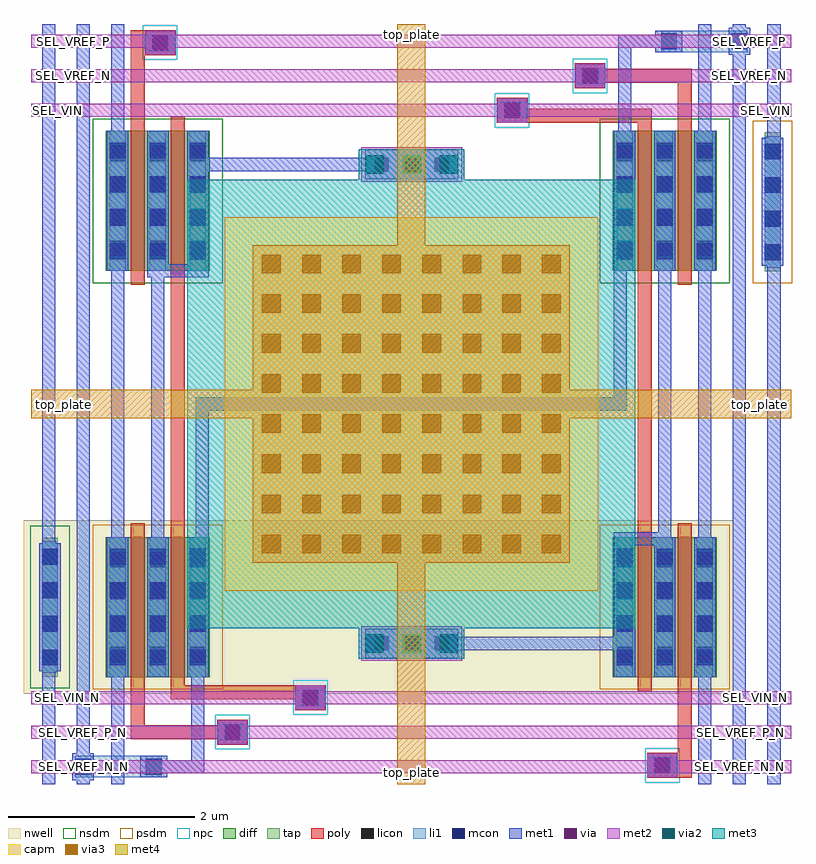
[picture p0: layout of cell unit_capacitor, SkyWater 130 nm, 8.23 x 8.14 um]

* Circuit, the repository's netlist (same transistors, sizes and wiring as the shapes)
***********************************************************
* CDL produced by pvsBuildNetlist on Jul 15 21:54:35 2026 *
***********************************************************


*pvsViewList = auCdl schematic
*pvsStopList = ("auCdl")
*pvsSimName  = auCdl



*.EXPAND_ON_M_FACTOR
*.MEGA



.subckt unit_capacitor SEL_VIN SEL_VIN_N SEL_VREF_N SEL_VREF_N_N SEL_VREF_P
+  SEL_VREF_P_N VDD VIN VREF_N VREF_P VSS top_plate
*PVSCELL netlisted from NS_SAR_Analog unit_capacitor schematic
  CC0 top_plate bottom_plate cap_mim_m3__base l=4u w=4u m=1
  MNM0 VIN SEL_VIN bottom_plate VSS nfet_01v8 M=1 L=150n W=1.5u
  MNM1 bottom_plate SEL_VIN_N bottom_plate VSS nfet_01v8 M=1 L=150n W=1.5u
  MNM2 bottom_plate SEL_VREF_P VREF_P VSS nfet_01v8 M=1 L=150n W=1.5u
  MNM3 bottom_plate SEL_VREF_N VREF_N VSS nfet_01v8 M=1 L=150n W=1.5u
  MPM0 bottom_plate SEL_VIN_N VIN VDD pfet_01v8 M=1 L=150n W=1.5u
  MPM1 bottom_plate SEL_VIN bottom_plate VDD pfet_01v8 M=1 L=150n W=1.5u
  MPM2 VREF_P SEL_VREF_P_N bottom_plate VDD pfet_01v8 M=1 L=150n W=1.5u
  MPM3 VREF_N SEL_VREF_N_N bottom_plate VDD pfet_01v8 M=1 L=150n W=1.5u
.ends unit_capacitor


***********************************************************
*             Completed at Jul 15 21:54:35 2026           *
***********************************************************

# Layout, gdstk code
from math import pi, radians
import gdstk
lib = gdstk.Library(unit=1e-6, precision=1e-09)
def R(c, l, rs):  # rectangles x0, y0, x1, y1
    for r in rs: c.add(gdstk.rectangle(r[:2], r[2:], *l))
def A(c, l, x, y, w, h, nx, ny, dx, dy):  # array of equal rectangles
    R(c, l, [(x+i*dx, y+j*dy, x+i*dx+w, y+j*dy+h) for i in range(nx) for j in range(ny)])
nwell = (64, 20)
diff = (65, 20)
tap = (65, 44)
poly = (66, 20)
licon = (66, 44)
li1 = (67, 20)
mcon = (67, 44)
met1 = (68, 20)
via = (68, 44)
met2 = (69, 20)
via2 = (69, 44)
met3 = (70, 20)
via3 = (70, 44)
met4 = (71, 20)
capm = (89, 44)
nsdm = (93, 44)
psdm = (94, 20)
npc = (95, 20)

cap_mim_m3__base_cdns_78 = lib.new_cell('cap_mim_m3__base_CDNS_784047173763')
R(cap_mim_m3__base_cdns_78, met3, [(-0.4,-0.4,4.4,4.4)])
A(cap_mim_m3__base_cdns_78, via3, 0.4, 0.4, 0.2, 0.2, 6, 6, 0.43, 0.43)
A(cap_mim_m3__base_cdns_78, via3, 2.975, 0.4, 0.2, 0.2, 1, 6, 0, 0.43)
A(cap_mim_m3__base_cdns_78, via3, 3.4, 0.4, 0.2, 0.2, 1, 6, 0, 0.43)
A(cap_mim_m3__base_cdns_78, via3, 0.4, 2.975, 0.2, 0.2, 6, 2, 0.43, 0.425)
R(cap_mim_m3__base_cdns_78, via3, [(2.975,2.975,3.175,3.175), (3.4,2.975,3.6,3.175), (2.975,3.4,3.175,3.6), (3.4,3.4,3.6,3.6)])
R(cap_mim_m3__base_cdns_78, met4, [(0.3,0.3,3.7,3.7)])
R(cap_mim_m3__base_cdns_78, capm, [(0,0,4,4)])

pfet_01v8_cdns_784047173 = lib.new_cell('pfet_01v8_CDNS_784047173764')
R(pfet_01v8_cdns_784047173, nwell, [(-0.445,-0.18,0.385,1.68)])
R(pfet_01v8_cdns_784047173, diff, [(-0.265,0,0,1.5), (0,0,0.15,1.5), (0.15,0,0.205,1.5)])
R(pfet_01v8_cdns_784047173, poly, [(0,-0.15,0.15,-0.095), (0,-0.095,0.15,0), (0,0,0.15,1.5), (0,1.5,0.15,1.595), (0,1.595,0.15,1.65)])
A(pfet_01v8_cdns_784047173, licon, -0.225, 0.155, 0.17, 0.17, 1, 4, 0, 0.34)
R(pfet_01v8_cdns_784047173, li1, [(-0.225,0,-0.055,1.5)])
A(pfet_01v8_cdns_784047173, mcon, -0.225, 0.125, 0.17, 0.17, 1, 4, 0, 0.36)
R(pfet_01v8_cdns_784047173, met1, [(-0.255,0,-0.025,1.5)])
R(pfet_01v8_cdns_784047173, psdm, [(-0.405,-0.13,0.215,1.63)])

nfet_01v8_cdns_784047173 = lib.new_cell('nfet_01v8_CDNS_784047173765')
R(nfet_01v8_cdns_784047173, diff, [(-0.055,0,0,1.5), (0,0,0.15,1.5), (0.15,0,0.415,1.5)])
R(nfet_01v8_cdns_784047173, poly, [(0,-0.15,0.15,-0.095), (0,-0.095,0.15,0), (0,0,0.15,1.5), (0,1.5,0.15,1.595), (0,1.595,0.15,1.65)])
A(nfet_01v8_cdns_784047173, licon, 0.205, 0.155, 0.17, 0.17, 1, 4, 0, 0.34)
R(nfet_01v8_cdns_784047173, li1, [(0.205,0,0.375,1.5)])
A(nfet_01v8_cdns_784047173, mcon, 0.205, 0.125, 0.17, 0.17, 1, 4, 0, 0.36)
R(nfet_01v8_cdns_784047173, met1, [(0.175,0,0.405,1.5)])
R(nfet_01v8_cdns_784047173, nsdm, [(-0.065,-0.13,0.555,1.63)])

c_pfet_01v8_cdns_784047173 = lib.new_cell('pfet_01v8_CDNS_784047173766')
R(c_pfet_01v8_cdns_784047173, nwell, [(-0.405,-0.18,0.595,1.68)])
R(c_pfet_01v8_cdns_784047173, diff, [(-0.225,0,0,1.5), (0,0,0.15,1.5), (0.15,0,0.415,1.5)])
R(c_pfet_01v8_cdns_784047173, poly, [(0,-0.15,0.15,-0.095), (0,-0.095,0.15,0), (0,0,0.15,1.5), (0,1.5,0.15,1.595), (0,1.595,0.15,1.65)])
A(c_pfet_01v8_cdns_784047173, licon, -0.225, 0.155, 0.17, 0.17, 1, 4, 0, 0.34)
A(c_pfet_01v8_cdns_784047173, licon, 0.205, 0.155, 0.17, 0.17, 1, 4, 0, 0.34)
R(c_pfet_01v8_cdns_784047173, li1, [(-0.225,0,-0.055,1.5), (0.205,0,0.375,1.5)])
A(c_pfet_01v8_cdns_784047173, mcon, -0.225, 0.125, 0.17, 0.17, 1, 4, 0, 0.36)
A(c_pfet_01v8_cdns_784047173, mcon, 0.205, 0.125, 0.17, 0.17, 1, 4, 0, 0.36)
R(c_pfet_01v8_cdns_784047173, met1, [(-0.255,0,-0.025,1.5), (0.175,0,0.405,1.5)])
R(c_pfet_01v8_cdns_784047173, psdm, [(-0.235,-0.13,0.555,1.63)])

c_nfet_01v8_cdns_784047173 = lib.new_cell('nfet_01v8_CDNS_784047173767')
R(c_nfet_01v8_cdns_784047173, diff, [(-0.265,0,0,1.5), (0,0,0.15,1.5), (0.15,0,0.375,1.5)])
R(c_nfet_01v8_cdns_784047173, poly, [(0,-0.15,0.15,-0.095), (0,-0.095,0.15,0), (0,0,0.15,1.5), (0,1.5,0.15,1.595), (0,1.595,0.15,1.65)])
A(c_nfet_01v8_cdns_784047173, licon, -0.225, 0.155, 0.17, 0.17, 1, 4, 0, 0.34)
A(c_nfet_01v8_cdns_784047173, licon, 0.205, 0.155, 0.17, 0.17, 1, 4, 0, 0.34)
R(c_nfet_01v8_cdns_784047173, li1, [(-0.225,0,-0.055,1.5), (0.205,0,0.375,1.5)])
A(c_nfet_01v8_cdns_784047173, mcon, -0.225, 0.125, 0.17, 0.17, 1, 4, 0, 0.36)
A(c_nfet_01v8_cdns_784047173, mcon, 0.205, 0.125, 0.17, 0.17, 1, 4, 0, 0.36)
R(c_nfet_01v8_cdns_784047173, met1, [(-0.255,0,-0.025,1.5), (0.175,0,0.405,1.5)])
R(c_nfet_01v8_cdns_784047173, nsdm, [(-0.405,-0.13,0.385,1.63)])

polyconn_cdns_7840471737 = lib.new_cell('polyConn_CDNS_784047173760')
R(polyconn_cdns_7840471737, poly, [(-0.135,-0.165,0.135,0.165)])
R(polyconn_cdns_7840471737, licon, [(-0.085,-0.085,0.085,0.085)])
R(polyconn_cdns_7840471737, li1, [(-0.085,-0.165,0.085,0.165)])
R(polyconn_cdns_7840471737, mcon, [(-0.085,-0.085,0.085,0.085)])
R(polyconn_cdns_7840471737, met1, [(-0.13,-0.16,0.13,0.16)])
R(polyconn_cdns_7840471737, npc, [(-0.185,-0.185,0.185,0.185)])

m1m2_c_cdns_784047173760 = lib.new_cell('M1M2_C_CDNS_784047173760')
R(m1m2_c_cdns_784047173760, met1, [(-0.13,-0.16,0.13,0.16)])
R(m1m2_c_cdns_784047173760, via, [(-0.075,-0.075,0.075,0.075)])
R(m1m2_c_cdns_784047173760, met2, [(-0.13,-0.16,0.13,0.16)])

l1m1_c_cdns_784047173761 = lib.new_cell('L1M1_C_CDNS_784047173761')
R(l1m1_c_cdns_784047173761, li1, [(-0.085,-0.115,0.085,0.115)])
R(l1m1_c_cdns_784047173761, mcon, [(-0.085,-0.085,0.085,0.085)])
R(l1m1_c_cdns_784047173761, met1, [(-0.115,-0.145,0.115,0.145)])

l1m1_c_cdns_784047173762 = lib.new_cell('L1M1_C_CDNS_784047173762')
R(l1m1_c_cdns_784047173762, li1, [(-0.085,-0.115,0.085,0.115)])
R(l1m1_c_cdns_784047173762, mcon, [(-0.085,-0.085,0.085,0.085)])
R(l1m1_c_cdns_784047173762, met1, [(-0.145,-0.115,0.145,0.115)])

nwelltap_cdns_7840471737 = lib.new_cell('nwellTap_CDNS_784047173761')
R(nwelltap_cdns_7840471737, nwell, [(-0.265,-0.925,0.265,0.925)])
R(nwelltap_cdns_7840471737, tap, [(-0.085,-0.745,0.085,0.745)])
A(nwelltap_cdns_7840471737, licon, -0.085, -0.625, 0.17, 0.17, 1, 4, 0, 0.36)
R(nwelltap_cdns_7840471737, li1, [(-0.085,-0.705,0.085,0.705)])
A(nwelltap_cdns_7840471737, mcon, -0.085, -0.625, 0.17, 0.17, 1, 4, 0, 0.36)
R(nwelltap_cdns_7840471737, met1, [(-0.115,-0.685,0.115,0.685)])
R(nwelltap_cdns_7840471737, nsdm, [(-0.21,-0.87,0.21,0.87)])

subtap_cdns_784047173762 = lib.new_cell('subTap_CDNS_784047173762')
R(subtap_cdns_784047173762, tap, [(-0.085,-0.745,0.085,0.745)])
A(subtap_cdns_784047173762, licon, -0.085, -0.625, 0.17, 0.17, 1, 4, 0, 0.36)
R(subtap_cdns_784047173762, li1, [(-0.085,-0.705,0.085,0.705)])
A(subtap_cdns_784047173762, mcon, -0.085, -0.625, 0.17, 0.17, 1, 4, 0, 0.36)
R(subtap_cdns_784047173762, met1, [(-0.115,-0.685,0.115,0.685)])
R(subtap_cdns_784047173762, psdm, [(-0.21,-0.87,0.21,0.87)])

m2m3_c_cdns_784047173763 = lib.new_cell('M2M3_C_CDNS_784047173763')
R(m2m3_c_cdns_784047173763, met2, [(-0.54,-0.185,0.54,0.185)])
A(m2m3_c_cdns_784047173763, via2, -0.5, -0.1, 0.2, 0.2, 3, 1, 0.4, 0)
R(m2m3_c_cdns_784047173763, met3, [(-0.565,-0.165,0.565,0.165)])

m1m2_c_cdns_784047173764 = lib.new_cell('M1M2_C_CDNS_784047173764')
R(m1m2_c_cdns_784047173764, met1, [(-0.5,-0.16,0.5,0.16)])
A(m1m2_c_cdns_784047173764, via, -0.395, -0.075, 0.15, 0.15, 3, 1, 0.32, 0)
R(m1m2_c_cdns_784047173764, met2, [(-0.54,-0.185,0.54,0.185)])

unit_capacitor = lib.new_cell('unit_capacitor')
R(unit_capacitor, nwell, [(-0.08,0.095,6.4,1.955)])
A(unit_capacitor, met1, 0.115, -0.87, 0.14, 0.14, 3, 2, 0.37, 8)
A(unit_capacitor, met1, 7.145, -0.87, 0.14, 0.14, 3, 2, 0.37, 8)
A(unit_capacitor, met2, 0, -0.755, 0.14, 0.14, 1, 3, 0, 0.37)
A(unit_capacitor, met2, 8, -0.755, 0.14, 0.14, 1, 3, 0, 0.37)
A(unit_capacitor, met2, 0, 6.275, 0.14, 0.14, 1, 3, 0, 0.37)
A(unit_capacitor, met2, 8, 6.275, 0.14, 0.14, 1, 3, 0, 0.37)
R(unit_capacitor, met4, [(3.92,-0.87,4.22,-0.615), (0,3.05,0.255,3.35), (7.885,3.05,8.14,3.35), (3.92,7.015,4.22,7.27)])
unit_capacitor.add(gdstk.FlexPath([(4.07,7.015),(4.07,4.9)], 0.3, ends="flush", simple_path=True, layer=71, datatype=20))  # met4
unit_capacitor.add(gdstk.FlexPath([(0.255,3.2),(2.37,3.2)], 0.3, ends="flush", simple_path=True, layer=71, datatype=20))  # met4
unit_capacitor.add(gdstk.FlexPath([(8.075,3.2),(5.77,3.2)], 0.3, ends="flush", simple_path=True, layer=71, datatype=20))  # met4
unit_capacitor.add(gdstk.FlexPath([(4.07,-0.615),(4.07,1.5)], 0.3, ends="flush", simple_path=True, layer=71, datatype=20))  # met4
unit_capacitor.add(gdstk.FlexPath([(6.83,7.085),(7.585,7.085)], 0.23, ends="flush", simple_path=True, layer=67, datatype=20))  # li1
unit_capacitor.add(gdstk.FlexPath([(1.31,-0.685),(0.555,-0.685)], 0.23, ends="flush", simple_path=True, layer=67, datatype=20))  # li1
unit_capacitor.add(gdstk.FlexPath([(6.57,4.475),(6.57,1.925)], 0.15, ends="flush", simple_path=True, layer=66, datatype=20))  # poly
unit_capacitor.add(gdstk.FlexPath([(1.57,0.115),(2.99,0.115)], 0.15, ends=(0.075, 0.165), simple_path=True, layer=66, datatype=20))  # poly
unit_capacitor.add(gdstk.FlexPath([(6.57,6.295),(6.57,6.285)], 0.15, ends=(0, 0.075), simple_path=True, layer=66, datatype=20))  # poly
unit_capacitor.add(gdstk.FlexPath([(7,6.715),(5.985,6.715)], 0.15, ends=(0.075, 0), simple_path=True, layer=66, datatype=20))  # poly
unit_capacitor.add(gdstk.FlexPath([(1.14,0.125),(1.14,-0.315)], 0.15, ends=(0, 0.075), simple_path=True, layer=66, datatype=20))  # poly
unit_capacitor.add(gdstk.FlexPath([(1.14,6.275),(1.14,7.205)], 0.15, ends="flush", simple_path=True, layer=66, datatype=20))  # poly
unit_capacitor.add(gdstk.FlexPath([(6.57,6.285),(5.15,6.285)], 0.15, ends=(0.075, 0.165), simple_path=True, layer=66, datatype=20))  # poly
unit_capacitor.add(gdstk.FlexPath([(1.57,0.105),(1.57,0.115)], 0.15, ends=(0, 0.075), simple_path=True, layer=66, datatype=20))  # poly
unit_capacitor.add(gdstk.FlexPath([(5.15,6.285),(5.15,6.345)], 0.33, ends=(0.075, 0), simple_path=True, layer=66, datatype=20))  # poly
unit_capacitor.add(gdstk.FlexPath([(2.99,0.115),(2.99,0.055)], 0.33, ends=(0.075, 0), simple_path=True, layer=66, datatype=20))  # poly
unit_capacitor.add(gdstk.FlexPath([(7,6.275),(7,6.715)], 0.15, ends=(0, 0.075), simple_path=True, layer=66, datatype=20))  # poly
unit_capacitor.add(gdstk.FlexPath([(1.57,4.495),(1.57,1.905)], 0.15, ends="flush", simple_path=True, layer=66, datatype=20))  # poly
unit_capacitor.add(gdstk.FlexPath([(7,0.125),(7,-0.805)], 0.15, ends="flush", simple_path=True, layer=66, datatype=20))  # poly
unit_capacitor.add(gdstk.FlexPath([(1.14,-0.315),(2.155,-0.315)], 0.15, ends=(0.075, 0), simple_path=True, layer=66, datatype=20))  # poly
unit_capacitor.add(gdstk.FlexPath([(1.355,1.755),(1.355,4.625)], 0.14, ends=(0, 0.07), simple_path=True, layer=68, datatype=20))  # met1
unit_capacitor.add(gdstk.FlexPath([(1.83,3.2),(6.31,3.2)], 0.14, ends="extended", simple_path=True, layer=68, datatype=20))  # met1
unit_capacitor.add(gdstk.FlexPath([(1.355,4.625),(1.24,4.625)], 0.14, ends=(0.07, 0), simple_path=True, layer=68, datatype=20))  # met1
unit_capacitor.add(gdstk.FlexPath([(6.31,1.755),(6.785,1.755)], 0.14, ends="extended", simple_path=True, layer=68, datatype=20))  # met1
unit_capacitor.add(gdstk.FlexPath([(1.355,4.625),(1.355,4.715)], 0.14, ends="extended", simple_path=True, layer=68, datatype=20))  # met1
unit_capacitor.add(gdstk.FlexPath([(6.355,5.075),(6.355,7.085)], 0.14, ends=(0, 0.07), simple_path=True, layer=68, datatype=20))  # met1
unit_capacitor.add(gdstk.FlexPath([(1.83,1.775),(1.83,3.2)], 0.14, ends=(0, 0.07), simple_path=True, layer=68, datatype=20))  # met1
unit_capacitor.add(gdstk.FlexPath([(7.585,7.27),(7.585,7.085)], 0.14, ends="flush", simple_path=True, layer=68, datatype=20))  # met1
unit_capacitor.add(gdstk.FlexPath([(6.31,3.2),(6.31,4.625)], 0.14, ends=(0.07, 0), simple_path=True, layer=68, datatype=20))  # met1
unit_capacitor.add(gdstk.FlexPath([(0.555,-0.685),(0.555,7.27)], 0.14, ends="flush", simple_path=True, layer=68, datatype=20))  # met1
unit_capacitor.add(gdstk.FlexPath([(1.785,1.325),(1.785,-0.685)], 0.14, ends=(0, 0.07), simple_path=True, layer=68, datatype=20))  # met1
unit_capacitor.add(gdstk.FlexPath([(4.075,5.765),(1.9,5.765)], 0.14, ends="flush", simple_path=True, layer=68, datatype=20))  # met1
unit_capacitor.add(gdstk.FlexPath([(6.355,7.085),(6.83,7.085)], 0.14, ends=(0.07, 0), simple_path=True, layer=68, datatype=20))  # met1
unit_capacitor.add(gdstk.FlexPath([(4.075,0.635),(6.24,0.635)], 0.14, ends="flush", simple_path=True, layer=68, datatype=20))  # met1
unit_capacitor.add(gdstk.FlexPath([(0.555,-0.87),(0.555,-0.685)], 0.14, ends="flush", simple_path=True, layer=68, datatype=20))  # met1
unit_capacitor.add(gdstk.FlexPath([(1.355,4.715),(1.24,4.715)], 0.14, ends=(0.07, 0), simple_path=True, layer=68, datatype=20))  # met1
unit_capacitor.add(gdstk.FlexPath([(1.83,4.625),(1.355,4.625)], 0.14, ends="extended", simple_path=True, layer=68, datatype=20))  # met1
unit_capacitor.add(gdstk.FlexPath([(1.785,-0.685),(1.31,-0.685)], 0.14, ends=(0.07, 0), simple_path=True, layer=68, datatype=20))  # met1
unit_capacitor.add(gdstk.FlexPath([(0.185,7.27),(0.185,-0.87)], 0.14, ends="flush", simple_path=True, layer=68, datatype=20))  # met1
unit_capacitor.add(gdstk.FlexPath([(6.785,1.755),(6.785,4.645)], 0.14, ends=(0.07, 0), simple_path=True, layer=68, datatype=20))  # met1
unit_capacitor.add(gdstk.FlexPath([(0.925,7.27),(0.925,-0.87)], 0.14, ends="flush", simple_path=True, layer=68, datatype=20))  # met1
unit_capacitor.add(gdstk.FlexPath([(7.955,7.27),(7.955,-0.87)], 0.14, ends="flush", simple_path=True, layer=68, datatype=20))  # met1
unit_capacitor.add(gdstk.FlexPath([(7.585,7.085),(7.585,-0.87)], 0.14, ends="flush", simple_path=True, layer=68, datatype=20))  # met1
unit_capacitor.add(gdstk.FlexPath([(7.215,7.27),(7.215,-0.87)], 0.14, ends="flush", simple_path=True, layer=68, datatype=20))  # met1
unit_capacitor.add(gdstk.FlexPath([(0,7.085),(8.14,7.085)], 0.14, ends="flush", simple_path=True, layer=69, datatype=20))  # met2
unit_capacitor.add(gdstk.FlexPath([(0,6.715),(8.14,6.715)], 0.14, ends="flush", simple_path=True, layer=69, datatype=20))  # met2
unit_capacitor.add(gdstk.FlexPath([(0,6.345),(8.14,6.345)], 0.14, ends="flush", simple_path=True, layer=69, datatype=20))  # met2
unit_capacitor.add(gdstk.FlexPath([(0,-0.685),(8.14,-0.685)], 0.14, ends="flush", simple_path=True, layer=69, datatype=20))  # met2
unit_capacitor.add(gdstk.FlexPath([(0,-0.315),(8.14,-0.315)], 0.14, ends="flush", simple_path=True, layer=69, datatype=20))  # met2
unit_capacitor.add(gdstk.FlexPath([(0,0.055),(8.14,0.055)], 0.14, ends="flush", simple_path=True, layer=69, datatype=20))  # met2
unit_capacitor.add(gdstk.Reference(cap_mim_m3__base_cdns_78, (2.07,1.2)))
unit_capacitor.add(gdstk.Reference(pfet_01v8_cdns_784047173, (6.495,0.275)))
unit_capacitor.add(gdstk.Reference(pfet_01v8_cdns_784047173, (1.645,0.275), rotation=pi, x_reflection=True))
unit_capacitor.add(gdstk.Reference(nfet_01v8_cdns_784047173, (1.495,4.625)))
unit_capacitor.add(gdstk.Reference(nfet_01v8_cdns_784047173, (6.645,4.625), rotation=pi, x_reflection=True))
unit_capacitor.add(gdstk.Reference(c_pfet_01v8_cdns_784047173, (1.215,0.275), rotation=pi, x_reflection=True))
unit_capacitor.add(gdstk.Reference(c_pfet_01v8_cdns_784047173, (6.925,0.275)))
unit_capacitor.add(gdstk.Reference(c_nfet_01v8_cdns_784047173, (1.065,4.625)))
unit_capacitor.add(gdstk.Reference(c_nfet_01v8_cdns_784047173, (7.075,4.625), rotation=pi, x_reflection=True))
unit_capacitor.add(gdstk.Reference(polyconn_cdns_7840471737, (5.985,6.715), rotation=pi/2))
unit_capacitor.add(gdstk.Reference(polyconn_cdns_7840471737, (2.99,0.055), rotation=pi/2))
unit_capacitor.add(gdstk.Reference(polyconn_cdns_7840471737, (5.15,6.345), rotation=pi/2))
unit_capacitor.add(gdstk.Reference(polyconn_cdns_7840471737, (6.76,-0.67), rotation=pi/2))
unit_capacitor.add(gdstk.Reference(polyconn_cdns_7840471737, (1.38,7.07), rotation=pi/2))
unit_capacitor.add(gdstk.Reference(polyconn_cdns_7840471737, (2.155,-0.315), rotation=pi/2))
unit_capacitor.add(gdstk.Reference(m1m2_c_cdns_784047173760, (5.985,6.715), rotation=pi/2))
unit_capacitor.add(gdstk.Reference(m1m2_c_cdns_784047173760, (2.99,0.055), rotation=pi/2))
unit_capacitor.add(gdstk.Reference(m1m2_c_cdns_784047173760, (5.15,6.345), rotation=pi/2))
unit_capacitor.add(gdstk.Reference(m1m2_c_cdns_784047173760, (6.76,-0.67), rotation=pi/2))
unit_capacitor.add(gdstk.Reference(m1m2_c_cdns_784047173760, (1.38,7.07), rotation=pi/2))
unit_capacitor.add(gdstk.Reference(m1m2_c_cdns_784047173760, (2.155,-0.315), rotation=pi/2))
unit_capacitor.add(gdstk.Reference(l1m1_c_cdns_784047173761, (7.585,7.085)))
unit_capacitor.add(gdstk.Reference(l1m1_c_cdns_784047173761, (0.555,-0.685)))
unit_capacitor.add(gdstk.Reference(l1m1_c_cdns_784047173762, (6.83,7.085)))
unit_capacitor.add(gdstk.Reference(l1m1_c_cdns_784047173762, (1.31,-0.685)))
unit_capacitor.add(gdstk.Reference(nwelltap_cdns_7840471737, (0.2,1.025)))
unit_capacitor.add(gdstk.Reference(subtap_cdns_784047173762, (7.94,5.365)))
unit_capacitor.add(gdstk.Reference(m2m3_c_cdns_784047173763, (4.075,0.635)))
unit_capacitor.add(gdstk.Reference(m2m3_c_cdns_784047173763, (4.075,5.765)))
unit_capacitor.add(gdstk.Reference(m1m2_c_cdns_784047173764, (4.075,0.635)))
unit_capacitor.add(gdstk.Reference(m1m2_c_cdns_784047173764, (4.075,5.765)))
unit_capacitor.add(gdstk.Label('SEL_VREF_N', (7.69,6.715), layer=69, texttype=5))
unit_capacitor.add(gdstk.Label('SEL_VIN', (7.86,6.345), layer=69, texttype=5))
unit_capacitor.add(gdstk.Label('SEL_VREF_P', (7.695,7.085), layer=69, texttype=5))
unit_capacitor.add(gdstk.Label('SEL_VREF_N_N', (7.585,-0.685), layer=69, texttype=5))
unit_capacitor.add(gdstk.Label('SEL_VIN_N', (7.76,0.055), layer=69, texttype=5))
unit_capacitor.add(gdstk.Label('SEL_VREF_P_N', (7.595,-0.315), layer=69, texttype=5))
unit_capacitor.add(gdstk.Label('SEL_VREF_N_N', (0.56,-0.685), layer=69, texttype=5))
unit_capacitor.add(gdstk.Label('SEL_VIN_N', (0.39,0.055), layer=69, texttype=5))
unit_capacitor.add(gdstk.Label('SEL_VREF_P_N', (0.55,-0.315), layer=69, texttype=5))
unit_capacitor.add(gdstk.Label('SEL_VREF_N', (0.45,6.715), layer=69, texttype=5))
unit_capacitor.add(gdstk.Label('SEL_VIN', (0.285,6.345), layer=69, texttype=5))
unit_capacitor.add(gdstk.Label('SEL_VREF_P', (0.45,7.085), layer=69, texttype=5))
unit_capacitor.add(gdstk.Label('VREF_P', (0.925,-0.8), layer=68, texttype=5))
unit_capacitor.add(gdstk.Label('VIN', (0.555,-0.8), layer=68, texttype=5))
unit_capacitor.add(gdstk.Label('VDD', (0.185,-0.8), layer=68, texttype=5))
unit_capacitor.add(gdstk.Label('VSS', (7.955,-0.8), layer=68, texttype=5))
unit_capacitor.add(gdstk.Label('VIN', (7.585,-0.8), layer=68, texttype=5))
unit_capacitor.add(gdstk.Label('VREF_N', (7.215,-0.8), layer=68, texttype=5))
unit_capacitor.add(gdstk.Label('VSS', (7.955,7.2), layer=68, texttype=5))
unit_capacitor.add(gdstk.Label('VIN', (7.585,7.2), layer=68, texttype=5))
unit_capacitor.add(gdstk.Label('VREF_N', (7.215,7.2), layer=68, texttype=5))
unit_capacitor.add(gdstk.Label('VREF_P', (0.925,7.2), layer=68, texttype=5))
unit_capacitor.add(gdstk.Label('VIN', (0.555,7.2), layer=68, texttype=5))
unit_capacitor.add(gdstk.Label('VDD', (0.185,7.2), layer=68, texttype=5))
unit_capacitor.add(gdstk.Label('top_plate', (4.07,-0.745), layer=71, texttype=5))
unit_capacitor.add(gdstk.Label('top_plate', (7.8,3.2), layer=71, texttype=5))
unit_capacitor.add(gdstk.Label('top_plate', (0.34,3.2), layer=71, texttype=5))
unit_capacitor.add(gdstk.Label('top_plate', (4.07,7.16), layer=71, texttype=5))

lib.write_gds('unit_capacitor.gds')
